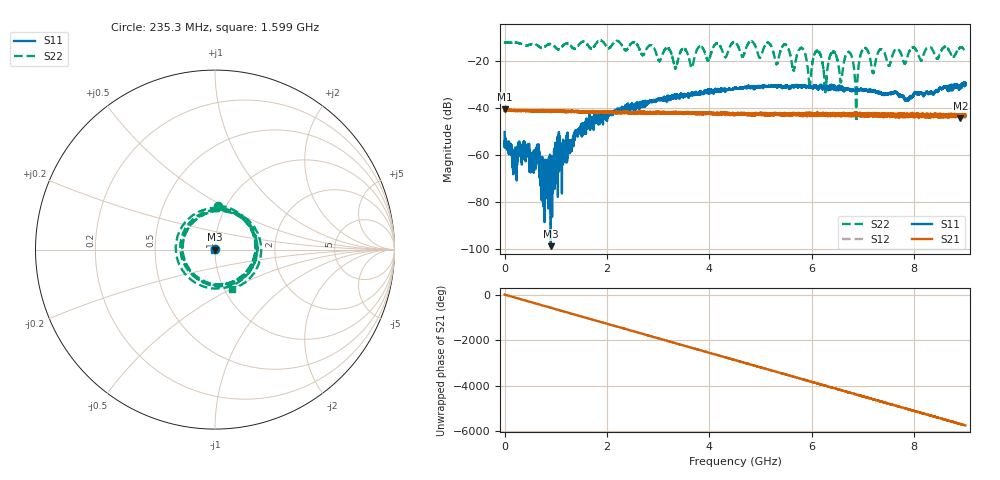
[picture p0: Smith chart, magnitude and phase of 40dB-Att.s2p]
# Hz S DB R 50
! CMT, SC5090, 24087134, 25.3.3/4
! Date: 01.12.2025 18:08:33
! Data: Format (Calibration Info)
! Freq	S11:dB/Ang(F2)	S21:dB/Ang(F2)	S12:dB/Ang(F2)	S22:dB/Ang(F2)
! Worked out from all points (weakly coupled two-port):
!   9001 points, 300 kHz to 9 GHz, reference 50 ohm
!   highest |S21| = -40.44 dB at 1.3 MHz (marker M1); lowest = -44.3 dB at 8.903 GHz (marker M2)
!   lowest |S11| = -98.6 dB at 902.3 MHz (marker M3), VSWR 1.00, Z = 50 + j0.00117 ohm
!   |S11| at or under -10 dB: start of sweep to end of sweep
!   |S22| runs from -45.8 to -11.2 dB; largest |S21 - S12| = 0.0019
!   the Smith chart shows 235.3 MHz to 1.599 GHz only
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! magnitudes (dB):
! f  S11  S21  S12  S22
! 300 kHz  -50.1  -41.2  -40.1  -12.1
! 1.3 MHz  -56.4  -40.4  -40.5  -12.2
! 902.3 MHz  -98.6  -41.3  -41.1  -12.7
! 1.5 GHz  -49.3  -41.5  -41.5  -12.0
! 3 GHz  -35.9  -41.7  -42.0  -19.3
! 4.5 GHz  -31.1  -42.4  -42.7  -11.9
! 5.314 GHz  -30.6  -42.7  -42.6  -21.3
! 5.485 GHz  -30.8  -42.7  -42.3  -13.0
! 5.643 GHz  -31.0  -42.1  -42.4  -23.8
! 5.805 GHz  -30.6  -42.3  -42.8  -14.4
! 6 GHz  -31.0  -42.9  -42.7  -22.4
! 6.126 GHz  -31.9  -42.7  -42.8  -15.9
! 6.27 GHz  -30.9  -42.4  -43.3  -32.5
! 6.421 GHz  -30.4  -42.6  -42.9  -16.1
! 6.573 GHz  -30.9  -42.8  -43.0  -28.9
! 6.726 GHz  -32.0  -42.7  -42.7  -16.1
! 6.868 GHz  -32.6  -42.4  -42.8  -45.4
! 7.019 GHz  -32.3  -43.0  -42.9  -14.5
! 7.193 GHz  -32.6  -43.3  -43.0  -24.9
! 7.5 GHz  -33.6  -42.9  -43.0  -21.9
! 8.903 GHz  -30.4  -44.3  -43.8  -14.2
! 9 GHz  -30.0  -42.6  -42.8  -16.2
